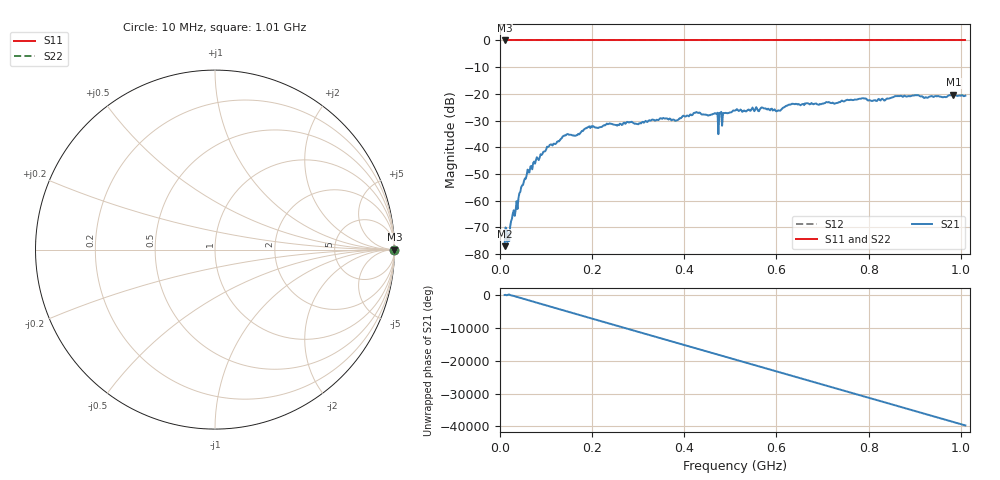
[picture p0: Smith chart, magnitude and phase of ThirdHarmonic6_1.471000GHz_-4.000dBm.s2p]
! 8/16/2025 5:08:41 PM
! C:\ANRITSUVNA\TEMP\TEMP.S2P
! CHANNEL.1
! TR.MEASUREMENT
! RAW.DATA
! RF.CORRECTION.OFF
! AVERAGING.OFF
! IF.BANDWIDTH: 5KHZ
! SWEEPTYPE:  FREQ.SWEEP(Linear)
! Reference Plane Port Info
! PORT:  PORT1  PORT2
! DISTANCE:  0  m  0  m
! TIME:  0  s  0  s
! PHASE.OFFSET:  0  deg.  0  deg.
! LOSS:  0  dB  0  dB
! REF.LOSS:  0  dB  0  dB
! REF.FREQ:  0  Hz  0  Hz
! Power Info
! POWER:  -20  dBm  -20  dBm
! EFF.POWER:  -20  dBm  -20  dBm
! SOURCE.ATTEN:  0  dB  0  dB
! TEST.ATTEN:  0  dB  0  dB
# GHZ S RI R 50.0
! FREQ.GHZ  S11RE  S11IM  S21RE  S21IM  S12RE  S12IM  S22RE  S22IM
!; PortSelection: Port_12
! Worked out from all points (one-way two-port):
!   501 points, 10 MHz to 1.01 GHz, reference 50 ohm
!   highest |S21| = -20.34 dB at 984 MHz (marker M1); lowest = -77.0 dB at 10 MHz (marker M2)
!   lowest |S11| = 0.0 dB at 10 MHz (marker M3)
!   |S11| at or under -10 dB: nowhere
!   |S22| runs from 0.0 to 0.0 dB; largest |S21 - S12| = 1.1
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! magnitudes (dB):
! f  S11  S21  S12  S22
! 10 MHz  0.0  -77.0  0.0  0.0
! 20 MHz  0.0  -75.1  0.0  0.0
! 26 MHz  0.0  -66.7  0.0  0.0
! 36 MHz  0.0  -60.2  0.0  0.0
! 50 MHz  0.0  -54.1  0.0  0.0
! 76 MHz  0.0  -46.1  0.0  0.0
! 140 MHz  0.0  -35.6  0.0  0.0
! 178 MHz  0.0  -33.9  0.0  0.0
! 234 MHz  0.0  -31.4  0.0  0.0
! 344 MHz  0.0  -29.8  0.0  0.0
! 384 MHz  0.0  -29.9  0.0  0.0
! 430 MHz  0.0  -27.1  0.0  0.0
! 468 MHz  0.0  -27.3  0.0  0.0
! 478 MHz  0.0  -27.2  0.0  0.0
! 480 MHz  0.0  -26.7  0.0  0.0
! 510 MHz  0.0  -26.3  0.0  0.0
! 604 MHz  0.0  -26.2  0.0  0.0
! 632 MHz  0.0  -23.9  0.0  0.0
! 678 MHz  0.0  -23.7  0.0  0.0
! 844 MHz  0.0  -21.8  0.0  0.0
! 984 MHz  0.0  -20.3  0.0  0.0
! 1.01 GHz  0.0  -20.7  0.0  0.0
